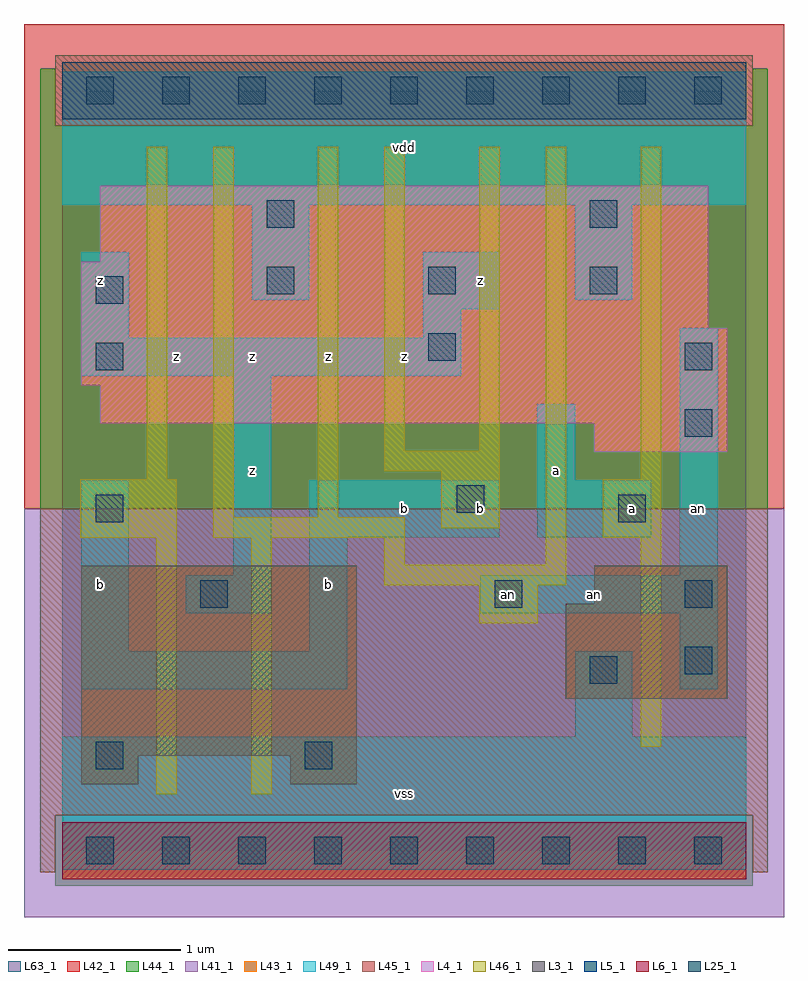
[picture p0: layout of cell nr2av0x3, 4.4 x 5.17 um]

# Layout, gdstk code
import gdstk
lib = gdstk.Library(unit=1e-6, precision=1e-09)
def R(c, l, rs):  # rectangles x0, y0, x1, y1
    for r in rs: c.add(gdstk.rectangle(r[:2], r[2:], *l))
def A(c, l, x, y, w, h, nx, ny, dx, dy):  # array of equal rectangles
    R(c, l, [(x+i*dx, y+j*dy, x+i*dx+w, y+j*dy+h) for i in range(nx) for j in range(ny)])
L3_1 = (3, 1)
L4_1 = (4, 1)
L5_1 = (5, 1)
L6_1 = (6, 1)
L25_1 = (25, 1)
L41_1 = (41, 1)
L42_1 = (42, 1)
L43_1 = (43, 1)
L44_1 = (44, 1)
L45_1 = (45, 1)
L46_1 = (46, 1)
L49_1 = (49, 1)
L63_1 = (63, 1)

nr2av0x3 = lib.new_cell('nr2av0x3')
R(nr2av0x3, L3_1, [(0.11,0.385,0.44,0.55), (1.32,0.385,1.705,0.55), (0.11,0.55,1.705,1.65), (2.915,0.88,3.85,1.43), (3.08,1.43,3.85,1.65)])
R(nr2av0x3, L4_1, [(3.08,2.31,3.85,2.475), (0.22,2.475,3.85,2.695), (0.11,2.695,3.85,3.025), (0.11,3.025,3.74,3.41), (0.22,3.41,3.74,3.85)])
R(nr2av0x3, L5_1, [(0,4.235,3.96,4.565)])
R(nr2av0x3, L6_1, [(0,-0.165,3.96,0.165)])
A(nr2av0x3, L25_1, 0.14, -0.08, 0.16, 0.16, 9, 2, 0.44, 4.4)
A(nr2av0x3, L25_1, 1.185, 3.22, 0.16, 0.16, 3, 1, 0.935, 0)
R(nr2av0x3, L25_1, [(0.195,0.47,0.355,0.63), (1.405,0.47,1.565,0.63), (3.055,0.965,3.215,1.125), (3.605,1.02,3.765,1.18), (0.8,1.405,0.96,1.565), (2.505,1.405,2.665,1.565), (3.605,1.405,3.765,1.565), (0.195,1.9,0.355,2.06), (3.22,1.9,3.38,2.06), (2.285,1.955,2.445,2.115), (3.605,2.395,3.765,2.555), (0.195,2.78,0.355,2.94), (3.605,2.78,3.765,2.94), (2.12,2.835,2.28,2.995), (0.195,3.165,0.355,3.325), (1.185,3.605,1.345,3.765), (3.055,3.605,3.215,3.765)])
R(nr2av0x3, L41_1, [(-0.22,-0.385,4.18,1.98)])
R(nr2av0x3, L42_1, [(-0.22,1.98,4.18,4.785)])
R(nr2av0x3, L43_1, [(0,-0.165,3.96,0.165), (0.11,0.385,0.44,0.55), (1.32,0.385,1.705,0.55), (0.11,0.55,1.705,1.65), (2.915,0.88,3.85,1.43), (3.08,1.43,3.85,1.65), (3.08,2.31,3.85,2.475), (0.22,2.475,3.85,2.695), (0.11,2.695,3.85,3.025), (0.11,3.025,3.74,3.41), (0.22,3.41,3.74,3.85), (0,4.235,3.96,4.565)])
R(nr2av0x3, L44_1, [(-0.04,-0.205,4,0.205), (-0.125,1.98,4.085,4.195), (-0.125,4.195,-0.04,4.525), (4,4.195,4.085,4.525)])
R(nr2av0x3, L45_1, [(-0.125,-0.125,-0.04,0.205), (4,-0.125,4.085,0.205), (-0.125,0.205,4.085,1.98), (-0.04,4.195,4,4.605)])
R(nr2av0x3, L46_1, [(0.545,0.325,0.665,1.81), (1.095,0.325,1.215,1.81), (3.35,0.6,3.47,1.81), (2.415,1.315,2.755,1.535), (1.865,1.535,2.92,1.655), (1.865,1.655,1.985,1.81), (2.8,1.655,2.92,4.075), (0.105,1.81,0.665,2.15), (0.875,1.81,1.985,1.93), (3.13,1.81,3.47,2.15), (2.195,1.865,2.535,2.195), (0.875,1.93,0.995,4.075), (1.48,1.93,1.6,4.075), (0.49,2.15,0.61,4.075), (3.35,2.15,3.47,4.075), (1.865,2.195,2.535,2.315), (1.865,2.315,1.985,4.075), (2.415,2.315,2.535,4.075)])
R(nr2av0x3, L49_1, [(0,-0.11,3.96,0.66), (2.97,0.66,3.3,1.155), (0.11,0.935,1.65,1.155), (3.575,0.935,3.795,1.375), (0.11,1.155,0.385,2.145), (1.43,1.155,1.65,1.815), (0.715,1.375,1.21,1.595), (2.42,1.375,3.795,1.595), (0.99,1.595,1.21,2.75), (3.575,1.595,3.795,3.025), (1.43,1.815,2.53,2.145), (2.75,1.815,3.41,2.145), (2.75,2.145,2.97,2.585), (0.11,2.75,2.31,2.97), (0.11,2.97,0.385,3.465), (2.09,2.97,2.31,3.135), (2.09,3.135,2.53,3.465), (1.1,3.19,1.43,3.74), (2.97,3.19,3.3,3.74), (0,3.74,3.96,4.51)])
R(nr2av0x3, L63_1, [(0,0,3.96,4.4)])
nr2av0x3.add(gdstk.Label('an', (2.585,1.485), layer=49, texttype=1))
nr2av0x3.add(gdstk.Label('b', (0.22,1.54), layer=49, texttype=1))
nr2av0x3.add(gdstk.Label('z', (0.22,3.3), layer=49, texttype=1))
nr2av0x3.add(gdstk.Label('z', (1.1,2.2), layer=49, texttype=1))
nr2av0x3.add(gdstk.Label('z', (1.1,2.86), layer=49, texttype=1))
nr2av0x3.add(gdstk.Label('z', (0.66,2.86), layer=49, texttype=1))
nr2av0x3.add(gdstk.Label('vss', (1.98,0.33), layer=49, texttype=1))
nr2av0x3.add(gdstk.Label('b', (1.54,1.54), layer=49, texttype=1))
nr2av0x3.add(gdstk.Label('b', (1.98,1.98), layer=49, texttype=1))
nr2av0x3.add(gdstk.Label('z', (1.98,2.86), layer=49, texttype=1))
nr2av0x3.add(gdstk.Label('z', (1.54,2.86), layer=49, texttype=1))
nr2av0x3.add(gdstk.Label('vdd', (1.98,4.07), layer=49, texttype=1))
nr2av0x3.add(gdstk.Label('b', (2.42,1.98), layer=49, texttype=1))
nr2av0x3.add(gdstk.Label('a', (2.86,2.2), layer=49, texttype=1))
nr2av0x3.add(gdstk.Label('z', (2.42,3.3), layer=49, texttype=1))
nr2av0x3.add(gdstk.Label('an', (3.08,1.485), layer=49, texttype=1))
nr2av0x3.add(gdstk.Label('a', (3.3,1.98), layer=49, texttype=1))
nr2av0x3.add(gdstk.Label('an', (3.685,1.98), layer=49, texttype=1))

lib.write_gds('nr2av0x3.gds')
